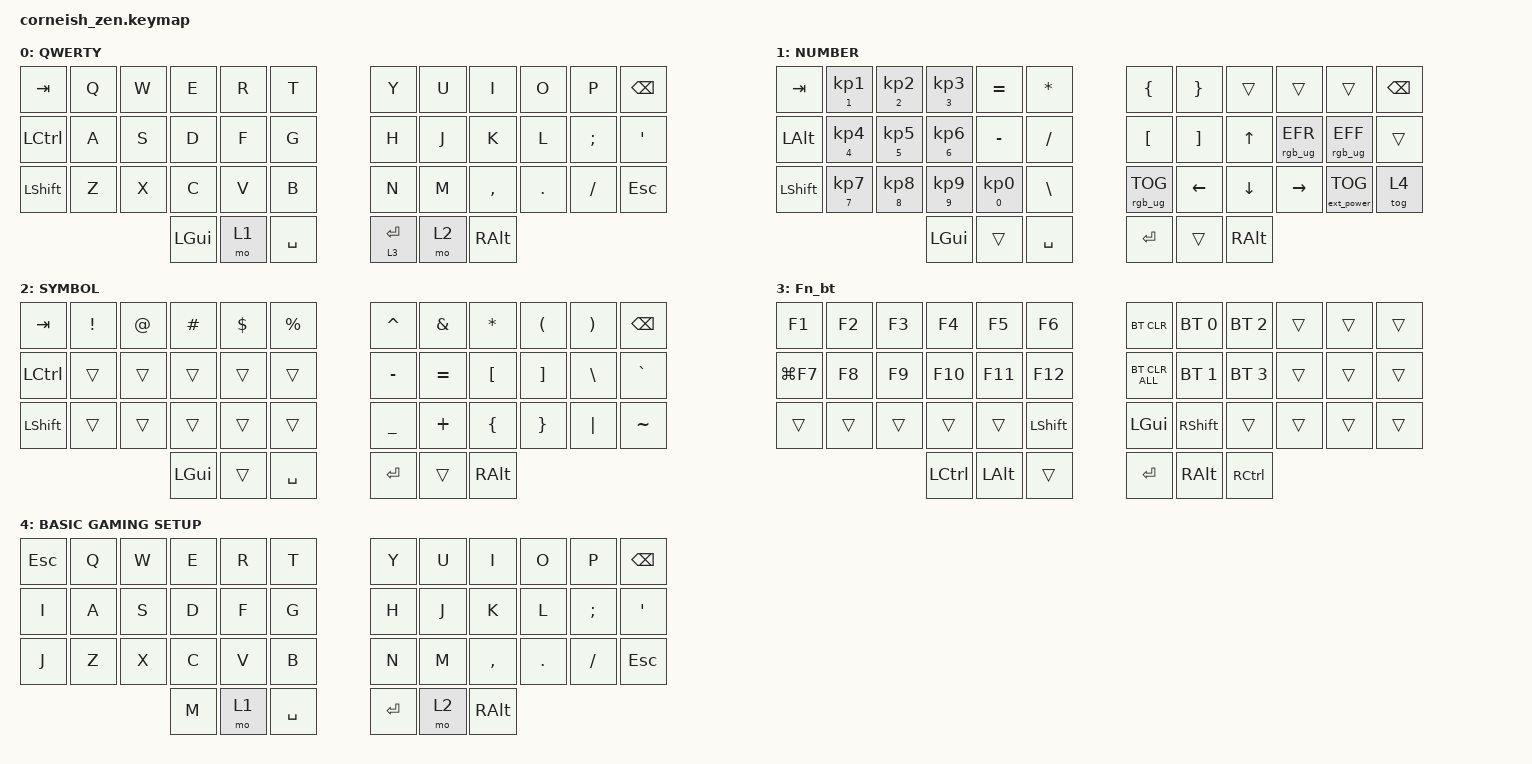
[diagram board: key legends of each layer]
#include <behaviors.dtsi>
#include <dt-bindings/zmk/bt.h>
#include <dt-bindings/zmk/ext_power.h>
#include <dt-bindings/zmk/keys.h>
#include <dt-bindings/zmk/rgb.h>

/ {
    chosen {
        zmk,matrix_transform = &default_transform;

        //zmk,matrix_transform = &five_column_transform;
    };
};

/ {
    keymap {
        compatible = "zmk,keymap";

        default_layer {
            label = "QWERTY";

            // -----------------------------------------------------------------------------------------
            // |  TAB |  Q  |  W  |  E  |  R  |  T  |   |  Y  |  U   |  I  |  O  |  P  | BKSP |
            // | CTRL |  A  |  S  |  D  |  F  |  G  |   |  H  |  J   |  K  |  L  |  ;  |  '   |
            // | SHFT |  Z  |  X  |  C  |  V  |  B  |   |  N  |  M   |  ,  |  .  |  /  | ESC  |
            //                    | GUI | LWR | SPC |   | ENT | RSE  | ALT |

            bindings = <
&kp TAB    &kp Q  &kp W  &kp E     &kp R  &kp T        &kp Y      &kp U  &kp I      &kp O    &kp P     &kp BSPC
&kp LCTRL  &kp A  &kp S  &kp D     &kp F  &kp G        &kp H      &kp J  &kp K      &kp L    &kp SEMI  &kp SQT
&kp LSHFT  &kp Z  &kp X  &kp C     &kp V  &kp B        &kp N      &kp M  &kp COMMA  &kp DOT  &kp FSLH  &kp ESC
                         &kp LGUI  &mo 1  &kp SPACE    &lt 3 RET  &mo 2  &kp RALT
            >;
        };

        Numbers {
            label = "NUMBER";

            // -----------------------------------------------------------------------------------------
            // |  TAB |  1  |  2  |  3  |  4  |  5  |   |  6  |  7  |  8  |  9  |  0  | BKSP |
            // | BTCLR| BT1 | BT2 | BT3 | BT4 | BT5 |   | LFT | DWN |  UP | RGT |     |      |
            // | SHFT |     |     |     |     |     |   |     |     |     |     |     |      |
            //                    | GUI |     | SPC |   | ENT |     | ALT |

            bindings = <
&kp TAB       &mt N1 KP_N1        &mt N2 KP_N2        &mt N3 KP_N3        &kp EQUAL           &kp ASTERISK     &kp LEFT_BRACE    &kp RIGHT_BRACE    &trans          &trans           &trans             &kp BSPC
&kp LEFT_ALT  &mt NUMBER_4 KP_N4  &mt NUMBER_5 KP_N5  &mt NUMBER_6 KP_N6  &kp MINUS           &kp SLASH        &kp LEFT_BRACKET  &kp RIGHT_BRACKET  &kp UP          &rgb_ug RGB_EFR  &rgb_ug RGB_EFF    &trans
&kp LSHFT     &mt NUMBER_7 KP_N7  &mt NUMBER_8 KP_N8  &mt NUMBER_9 KP_N9  &mt NUMBER_0 KP_N0  &kp BACKSLASH    &rgb_ug RGB_TOG   &kp LEFT_ARROW     &kp DOWN_ARROW  &kp RIGHT_ARROW  &ext_power EP_TOG  &tog 4
                                                      &kp LGUI            &trans              &kp SPACE        &kp RET           &trans             &kp RALT
            >;
        };

        Symbols {
            label = "SYMBOL";

            // -----------------------------------------------------------------------------------------
            // |  TAB |  !  |  @  |  #  |  $  |  %  |   |  ^  |  &  |  *  |  (  |  )  | BKSP |
            // | CTRL |     |     |     |     |     |   |  -  |  =  |  [  |  ]  |  \  |  `   |
            // | SHFT |     |     |     |     |     |   |  _  |  +  |  {  |  }  | "|" |  ~   |
            //                    | GUI |     | SPC |   | ENT |     | ALT |

            bindings = <
&kp TAB    &kp EXCL  &kp AT  &kp HASH  &kp DLLR  &kp PRCNT    &kp CARET  &kp AMPS   &kp STAR  &kp LPAR  &kp RPAR  &kp BSPC
&kp LCTRL  &trans    &trans  &trans    &trans    &trans       &kp MINUS  &kp EQUAL  &kp LBKT  &kp RBKT  &kp BSLH  &kp GRAVE
&kp LSHFT  &trans    &trans  &trans    &trans    &trans       &kp UNDER  &kp PLUS   &kp LBRC  &kp RBRC  &kp PIPE  &kp TILDE
                             &kp LGUI  &trans    &kp SPACE    &kp RET    &trans     &kp RALT
            >;
        };

        Fn_bt {
            bindings = <
&kp F1      &kp F2  &kp F3  &kp F4     &kp F5    &kp F6       &bt BT_CLR      &bt BT_SEL 0  &bt BT_SEL 2  &trans  &trans  &trans
&kp LG(F7)  &kp F8  &kp F9  &kp F10    &kp F11   &kp F12      &bt BT_CLR_ALL  &bt BT_SEL 1  &bt BT_SEL 3  &trans  &trans  &trans
&trans      &trans  &trans  &trans     &trans    &kp LSHFT    &kp LGUI        &kp RSHFT     &trans        &trans  &trans  &trans
                            &kp LCTRL  &kp LALT  &trans       &kp ENTER       &kp RALT      &kp RCTRL
            >;
        };

        Gaming {
            label = "BASIC GAMING SETUP";
            bindings = <
&kp ESCAPE  &kp Q  &kp W  &kp E  &kp R  &kp T        &kp Y    &kp U  &kp I      &kp O    &kp P     &kp BSPC
&kp I       &kp A  &kp S  &kp D  &kp F  &kp G        &kp H    &kp J  &kp K      &kp L    &kp SEMI  &kp SQT
&kp J       &kp Z  &kp X  &kp C  &kp V  &kp B        &kp N    &kp M  &kp COMMA  &kp DOT  &kp FSLH  &kp ESC
                          &kp M  &mo 1  &kp SPACE    &kp RET  &mo 2  &kp RALT
            >;
        };
    };
};
